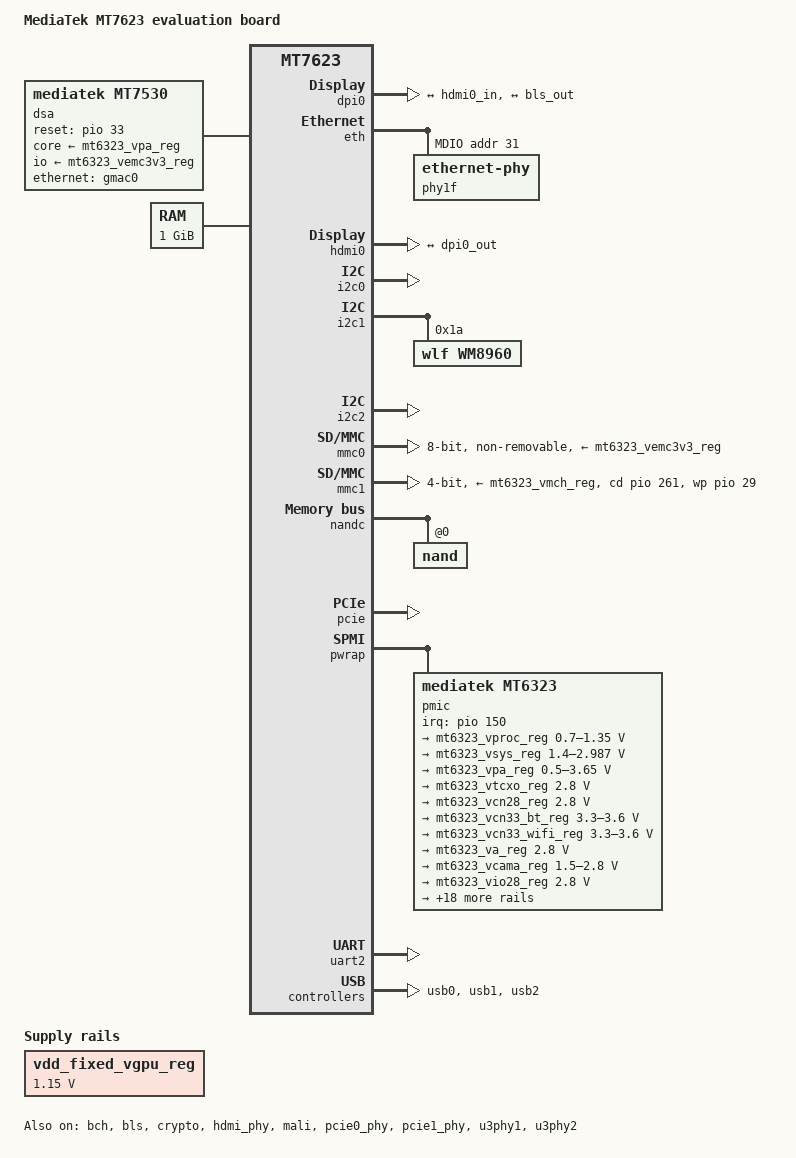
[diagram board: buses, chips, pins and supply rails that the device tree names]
/*
 * Copyright (c) 2016 MediaTek Inc.
 * Author: Sean Wang <sean.wang@mediatek.com>
 *
 * This program is free software; you can redistribute it and/or modify
 * it under the terms of the GNU General Public License version 2 as
 * published by the Free Software Foundation.
 *
 * This program is distributed in the hope that it will be useful,
 * but WITHOUT ANY WARRANTY; without even the implied warranty of
 * MERCHANTABILITY or FITNESS FOR A PARTICULAR PURPOSE.  See the
 * GNU General Public License for more details.
 */

/dts-v1/;
#include "mt7623.dtsi"

/ {
	model = "MediaTek MT7623 evaluation board";
	compatible = "mediatek,mt7623-evb", "mediatek,mt7623";

	chosen {
		stdout-path = &uart2;
	};

	cpus {
		cpu@0 {
			proc-supply = <&mt6323_vproc_reg>;
		};

		cpu@1 {
			proc-supply = <&mt6323_vproc_reg>;
		};

		cpu@2 {
			proc-supply = <&mt6323_vproc_reg>;
		};

		cpu@3 {
			proc-supply = <&mt6323_vproc_reg>;
		};
	};

	dsa: dsa@0 {
		compatible = "mediatek,mt7530";

		#address-cells = <2>;
		#size-cells = <0>;
		dsa,mii-bus = <&mdio>;
		dsa,ethernet = <&eth>;

		core-supply = <&mt6323_vpa_reg>;
		io-supply = <&mt6323_vemc3v3_reg>;
		/* mt7623n standalone switch reset */
		reset-gpios = <&pio 33 0>;

		status = "okay";

		mt7530: switch@0 {
			#address-cells = <1>;
			#size-cells = <0>;
			reg = <31 0>;

			port@0 {
				reg = <0>;
				label = "lan0";
			};

			port@1 {
				reg = <1>;
				label = "lan1";
			};

			port@2 {
				reg = <2>;
				label = "lan2";
			};

			port@3 {
				reg = <3>;
				label = "lan3";
			};

			port@4 {
				reg = <4>;
				label = "wan";
			};

			port@6 {
				reg = <6>;
				label = "cpu";
				ethernet = <&gmac0>;
				phy-mode = "trgmii";

				fixed-link {
					speed = <1000>;
					full-duplex;
				};
			};
		};
	};

	memory {
		reg = <0 0x80000000 0 0x40000000>;
	};

	vdd_fixed_vgpu_reg: fixedregulator@0 {
		compatible = "regulator-fixed";
		regulator-name = "vdd_fixed_vgpu";
		regulator-min-microvolt = <1150000>;
		regulator-max-microvolt = <1150000>;
	};
};

&bch {
	status = "okay";
};

&bls {
	status = "okay";

	port {
		bls_out: endpoint {
			remote-endpoint = <&dpi0_in>;
		};
	};
};

&crypto {
	status = "okay";
};

&dpi0 {
	status = "okay";

	port {
		dpi0_out: endpoint@0 {
			remote-endpoint = <&hdmi0_in>;
		};

		dpi0_in: endpoint@1 {
			remote-endpoint = <&bls_out>;
		};
	};
};

&eth {
	mac-address = [00 00 00 00 00 00];
	status = "okay";
	pinctrl-names = "default";
	pinctrl-0 = <&ephy_default>;
	gmac0: mac@0 {
		compatible = "mediatek,eth-mac";
		reg = <0>;
		phy-mode = "trgmii";

		fixed-link {
			speed = <1000>;
			full-duplex;
			pause;
		};
	};

	gmac1: mac@1 {
		compatible = "mediatek,eth-mac";
		reg = <1>;
		phy-mode = "rgmii";
		fixed-link {
			speed = <1000>;
			full-duplex;
			pause;
		};
	};

	mdio: mdio-bus {
		#address-cells = <1>;
		#size-cells = <0>;

		phy1f: ethernet-phy@1f {
			reg = <0x1f>;
			phy-mode = "rgmii";
		};
	};
};

&hdmi0 {
	status = "okay";

	ports {
		#address-cells = <1>;
		#size-cells = <0>;

		port@0 {
			reg = <0>;

			hdmi0_in: endpoint {
				remote-endpoint = <&dpi0_out>;
			};
		};
	};
};

&hdmi_phy {
	status = "okay";
};

&i2c0 {
	pinctrl-names = "default";
	pinctrl-0 = <&i2c0_pins_a>;
	status = "okay";
};

&i2c1 {
	pinctrl-names = "default";
	pinctrl-0 = <&i2c1_pins_a>;
	status = "okay";

	wm8960: wm8960@1a {
		compatible = "wlf,wm8960";
		reg = <0x1a>;
	};
};

&i2c2 {
	pinctrl-names = "default";
	pinctrl-0 = <&i2c2_pins_a>;
	status = "okay";
};

&mali {
	vdd_g3d-supply = <&vdd_fixed_vgpu_reg>;
	status = "okay";
};

&mmc0 {
	pinctrl-names = "default", "state_uhs";
	pinctrl-0 = <&mmc0_pins_default>;
	pinctrl-1 = <&mmc0_pins_uhs>;
	status = "okay";
	bus-width = <8>;
	max-frequency = <50000000>;
	cap-mmc-highspeed;
	vmmc-supply = <&mt6323_vemc3v3_reg>;
	vqmmc-supply = <&mt6323_vio18_reg>;
	non-removable;
};

&mmc1 {
	pinctrl-names = "default", "state_uhs";
	pinctrl-0 = <&mmc1_pins_default>;
	pinctrl-1 = <&mmc1_pins_uhs>;
	status = "okay";
	bus-width = <4>;
	max-frequency = <50000000>;
	cap-sd-highspeed;
	cd-gpios = <&pio 261 0>;
	wp-gpios = <&pio 29 0>;
	vmmc-supply = <&mt6323_vmch_reg>;
	vqmmc-supply = <&mt6323_vmc_reg>;
};

&nandc {
	status = "okay";
	pinctrl-names = "default";
	pinctrl-0 = <&nand_pins_default>;
	nand@0 {
		reg = <0>;
		spare_per_sector = <64>;
		nand-ecc-mode = "hw";
		nand-ecc-strength = <12>;
		nand-ecc-step-size = <1024>;
	};
};

&pcie {
	pinctrl-names = "default";
	pinctrl-0 = <&pcie_default>;
	status = "okay";

	pcie@0,0 {
		status = "okay";
	};

	pcie@1,0 {
		status = "okay";
	};
};

&pcie0_phy {
	status = "okay";
};

&pcie1_phy {
	status = "okay";
};

&pio {
	aud_pins_default: audiodefault {
		pins_cmd_dat {
			pinmux = <MT7623_PIN_49_I2S0_DATA_FUNC_I2S0_DATA>,
				 <MT7623_PIN_72_I2S0_DATA_IN_FUNC_I2S0_DATA_IN>,
				 <MT7623_PIN_73_I2S0_LRCK_FUNC_I2S0_LRCK>,
				 <MT7623_PIN_74_I2S0_BCK_FUNC_I2S0_BCK>,
				 <MT7623_PIN_126_I2S0_MCLK_FUNC_I2S0_MCLK>,
				 <MT7623_PIN_33_I2S1_DATA_FUNC_I2S1_DATA>,
				 <MT7623_PIN_34_I2S1_DATA_IN_FUNC_I2S1_DATA_IN>,
				 <MT7623_PIN_35_I2S1_BCK_FUNC_I2S1_BCK>,
				 <MT7623_PIN_36_I2S1_LRCK_FUNC_I2S1_LRCK>,
				 <MT7623_PIN_37_I2S1_MCLK_FUNC_I2S1_MCLK>;
			drive-strength = <MTK_DRIVE_12mA>;
			bias-pull-down;
		};
	};

	ephy_default: ephy_default {
		pins_eth {
			pinmux = <MT7623_PIN_275_G2_MDC_FUNC_MDC>,
				 <MT7623_PIN_276_G2_MDIO_FUNC_MDIO>,
				 <MT7623_PIN_262_G2_TXEN_FUNC_G2_TXEN>,
				 <MT7623_PIN_263_G2_TXD3_FUNC_G2_TXD3>,
				 <MT7623_PIN_264_G2_TXD2_FUNC_G2_TXD2>,
				 <MT7623_PIN_265_G2_TXD1_FUNC_G2_TXD1>,
				 <MT7623_PIN_266_G2_TXD0_FUNC_G2_TXD0>,
				 <MT7623_PIN_267_G2_TXCLK_FUNC_G2_TXC>,
				 <MT7623_PIN_268_G2_RXCLK_FUNC_G2_RXC>,
				 <MT7623_PIN_269_G2_RXD0_FUNC_G2_RXD0>,
				 <MT7623_PIN_270_G2_RXD1_FUNC_G2_RXD1>,
				 <MT7623_PIN_271_G2_RXD2_FUNC_G2_RXD2>,
				 <MT7623_PIN_272_G2_RXD3_FUNC_G2_RXD3>,
				 <MT7623_PIN_274_G2_RXDV_FUNC_G2_RXDV>;
		};
	};

	gsw_reset: gsw_reset {
		pins_rst {
			pinmux = <MT7623_PIN_33_I2S1_DATA_FUNC_GPIO33>;
			output-low;
		};
	};

	i2c0_pins_a: i2c0@0 {
		pins1 {
			pinmux = <MT7623_PIN_75_SDA0_FUNC_SDA0>,
				 <MT7623_PIN_76_SCL0_FUNC_SCL0>;
			bias-disable;
		};
	};

	i2c1_pins_a: i2c1@0 {
		pins1 {
			pinmux = <MT7623_PIN_57_SDA1_FUNC_GPIO57>,
				 <MT7623_PIN_58_SCL1_FUNC_GPIO58>,
				 <MT7623_PIN_243_UCTS2_FUNC_SDA1>,
				 <MT7623_PIN_242_URTS2_FUNC_SCL1>;
			bias-disable;
		};
	};

	i2c2_pins_a: i2c2@0 {
		pins1 {
			pinmux = <MT7623_PIN_77_SDA2_FUNC_SDA2>,
				 <MT7623_PIN_78_SCL2_FUNC_SCL2>;
			bias-disable;
		};
	};

	nand_pins_default: nanddefault {
		pins_dat {
			pinmux = <MT7623_PIN_111_MSDC0_DAT7_FUNC_NLD7>,
				<MT7623_PIN_112_MSDC0_DAT6_FUNC_NLD6>,
				<MT7623_PIN_114_MSDC0_DAT4_FUNC_NLD4>,
				<MT7623_PIN_118_MSDC0_DAT3_FUNC_NLD3>,
				<MT7623_PIN_121_MSDC0_DAT0_FUNC_NLD0>,
				<MT7623_PIN_120_MSDC0_DAT1_FUNC_NLD1>,
				<MT7623_PIN_113_MSDC0_DAT5_FUNC_NLD5>,
				<MT7623_PIN_115_MSDC0_RSTB_FUNC_NLD8>,
				<MT7623_PIN_119_MSDC0_DAT2_FUNC_NLD2>;
			input-enable;
			drive-strength = <MTK_DRIVE_8mA>;
			bias-pull-up;
		};
	};

	mmc0_pins_default: mmc0default {
		pins_cmd_dat {
			pinmux = <MT7623_PIN_111_MSDC0_DAT7_FUNC_MSDC0_DAT7>,
				 <MT7623_PIN_112_MSDC0_DAT6_FUNC_MSDC0_DAT6>,
				 <MT7623_PIN_113_MSDC0_DAT5_FUNC_MSDC0_DAT5>,
				 <MT7623_PIN_114_MSDC0_DAT4_FUNC_MSDC0_DAT4>,
				 <MT7623_PIN_118_MSDC0_DAT3_FUNC_MSDC0_DAT3>,
				 <MT7623_PIN_119_MSDC0_DAT2_FUNC_MSDC0_DAT2>,
				 <MT7623_PIN_120_MSDC0_DAT1_FUNC_MSDC0_DAT1>,
				 <MT7623_PIN_121_MSDC0_DAT0_FUNC_MSDC0_DAT0>,
				 <MT7623_PIN_116_MSDC0_CMD_FUNC_MSDC0_CMD>;
			input-enable;
			bias-pull-up;
		};

		pins_clk {
			pinmux = <MT7623_PIN_117_MSDC0_CLK_FUNC_MSDC0_CLK>;
			bias-pull-down;
		};

		pins_rst {
			pinmux = <MT7623_PIN_115_MSDC0_RSTB_FUNC_MSDC0_RSTB>;
			bias-pull-up;
		};
	};

	mmc0_pins_uhs: mmc0 {
		pins_cmd_dat {
			pinmux = <MT7623_PIN_111_MSDC0_DAT7_FUNC_MSDC0_DAT7>,
				 <MT7623_PIN_112_MSDC0_DAT6_FUNC_MSDC0_DAT6>,
				 <MT7623_PIN_113_MSDC0_DAT5_FUNC_MSDC0_DAT5>,
				 <MT7623_PIN_114_MSDC0_DAT4_FUNC_MSDC0_DAT4>,
				 <MT7623_PIN_118_MSDC0_DAT3_FUNC_MSDC0_DAT3>,
				 <MT7623_PIN_119_MSDC0_DAT2_FUNC_MSDC0_DAT2>,
				 <MT7623_PIN_120_MSDC0_DAT1_FUNC_MSDC0_DAT1>,
				 <MT7623_PIN_121_MSDC0_DAT0_FUNC_MSDC0_DAT0>,
				 <MT7623_PIN_116_MSDC0_CMD_FUNC_MSDC0_CMD>;
			input-enable;
			drive-strength = <MTK_DRIVE_2mA>;
			bias-pull-up = <MTK_PUPD_SET_R1R0_01>;
		};

		pins_clk {
			pinmux = <MT7623_PIN_117_MSDC0_CLK_FUNC_MSDC0_CLK>;
			drive-strength = <MTK_DRIVE_2mA>;
			bias-pull-down = <MTK_PUPD_SET_R1R0_01>;
		};

		pins_rst {
			pinmux = <MT7623_PIN_115_MSDC0_RSTB_FUNC_MSDC0_RSTB>;
			bias-pull-up;
		};
	};

	mmc1_pins_default: mmc1default {
		pins_cmd_dat {
			pinmux = <MT7623_PIN_107_MSDC1_DAT0_FUNC_MSDC1_DAT0>,
				 <MT7623_PIN_108_MSDC1_DAT1_FUNC_MSDC1_DAT1>,
				 <MT7623_PIN_109_MSDC1_DAT2_FUNC_MSDC1_DAT2>,
				 <MT7623_PIN_110_MSDC1_DAT3_FUNC_MSDC1_DAT3>,
				 <MT7623_PIN_105_MSDC1_CMD_FUNC_MSDC1_CMD>;
			input-enable;
			drive-strength = <MTK_DRIVE_4mA>;
			bias-pull-up = <MTK_PUPD_SET_R1R0_10>;
		};

		pins_clk {
			pinmux = <MT7623_PIN_106_MSDC1_CLK_FUNC_MSDC1_CLK>;
			bias-pull-down;
			drive-strength = <MTK_DRIVE_4mA>;
		};
	};

	mmc1_pins_uhs: mmc1 {
		pins_cmd_dat {
			pinmux = <MT7623_PIN_107_MSDC1_DAT0_FUNC_MSDC1_DAT0>,
				 <MT7623_PIN_108_MSDC1_DAT1_FUNC_MSDC1_DAT1>,
				 <MT7623_PIN_109_MSDC1_DAT2_FUNC_MSDC1_DAT2>,
				 <MT7623_PIN_110_MSDC1_DAT3_FUNC_MSDC1_DAT3>,
				 <MT7623_PIN_105_MSDC1_CMD_FUNC_MSDC1_CMD>;
			input-enable;
			drive-strength = <MTK_DRIVE_4mA>;
			bias-pull-up = <MTK_PUPD_SET_R1R0_10>;
		};

		pins_clk {
			pinmux = <MT7623_PIN_106_MSDC1_CLK_FUNC_MSDC1_CLK>;
			drive-strength = <MTK_DRIVE_4mA>;
			bias-pull-down = <MTK_PUPD_SET_R1R0_10>;
		};
	};

	pcie_default: pcie_pin_default {
		pins_cmd_dat {
			pinmux = <MT7623_PIN_208_AUD_EXT_CK1_FUNC_PCIE0_PERST_N>,
				 <MT7623_PIN_209_AUD_EXT_CK2_FUNC_PCIE1_PERST_N>;
		};
	};

	usb_iddig: iddig_irq_init{
		pins_cmd_dat {
			pinmux = <MT7623_PIN_44_NCEB1_FUNC_GPIO44>;
			bias-pull-up ;
		};
	};

	usb_drvvbus: drvvbus_init{
		pins_cmd_dat {
			pinmux = <MT7623_PIN_237_EXT_SDIO2_FUNC_GPIO237>;
			output-low;
		};
	};

	usb_drvvbus_low: drvvbus_low{
		pins_cmd_dat {
			pinmux = <MT7623_PIN_237_EXT_SDIO2_FUNC_GPIO237>;
			slew-rate = <1>;
			output-low;
		};
	};

	usb_drvvbus_high: drvvbus_high{
		pins_cmd_dat {
			pinmux = <MT7623_PIN_237_EXT_SDIO2_FUNC_GPIO237>;
			output-high;
		};
	};
};

&pwrap {
	pmic: mt6323 {
		compatible = "mediatek,mt6323";
		interrupt-parent = <&pio>;
		interrupts = <150 IRQ_TYPE_LEVEL_HIGH>;
		interrupt-controller;
		#interrupt-cells = <2>;

		mt6323led: led {
			compatible = "mediatek,mt6323-led";
			#address-cells = <1>;
			#size-cells = <0>;

			led@0 {
				reg = <0>;
				label = "green";
				default-state = "off";
			};

			led@1 {
				reg = <1>;
				label = "red";
				default-state = "off";
			};

			led@2 {
				reg = <2>;
				label = "blue";
				default-state = "off";
			};
		};

		mt6323regulator: mt6323regulator{
			compatible = "mediatek,mt6323-regulator";

			mt6323_vproc_reg: buck_vproc{
				regulator-name = "vproc";
				regulator-min-microvolt = < 700000>;
				regulator-max-microvolt = <1350000>;
				regulator-ramp-delay = <12500>;
				regulator-always-on;
				regulator-boot-on;
			};

			mt6323_vsys_reg: buck_vsys{
				regulator-name = "vsys";
				regulator-min-microvolt = <1400000>;
				regulator-max-microvolt = <2987500>;
				regulator-ramp-delay = <25000>;
				regulator-always-on;
				regulator-boot-on;
			};

			mt6323_vpa_reg: buck_vpa{
				regulator-name = "vpa";
				regulator-min-microvolt = < 500000>;
				regulator-max-microvolt = <3650000>;
			};

			mt6323_vtcxo_reg: ldo_vtcxo{
				regulator-name = "vtcxo";
				regulator-min-microvolt = <2800000>;
				regulator-max-microvolt = <2800000>;
				regulator-enable-ramp-delay = <90>;
				regulator-always-on;
				regulator-boot-on;
			};

			mt6323_vcn28_reg: ldo_vcn28{
				regulator-name = "vcn28";
				regulator-min-microvolt = <2800000>;
				regulator-max-microvolt = <2800000>;
				regulator-enable-ramp-delay = <185>;
			};

			mt6323_vcn33_bt_reg: ldo_vcn33_bt{
				regulator-name = "vcn33_bt";
				regulator-min-microvolt = <3300000>;
				regulator-max-microvolt = <3600000>;
				regulator-enable-ramp-delay = <185>;
			};

			mt6323_vcn33_wifi_reg: ldo_vcn33_wifi{
				regulator-name = "vcn33_wifi";
				regulator-min-microvolt = <3300000>;
				regulator-max-microvolt = <3600000>;
				regulator-enable-ramp-delay = <185>;
			};

			mt6323_va_reg: ldo_va{
				regulator-name = "va";
				regulator-min-microvolt = <2800000>;
				regulator-max-microvolt = <2800000>;
				regulator-enable-ramp-delay = <216>;
				regulator-always-on;
				regulator-boot-on;
			};

			mt6323_vcama_reg: ldo_vcama{
				regulator-name = "vcama";
				regulator-min-microvolt = <1500000>;
				regulator-max-microvolt = <2800000>;
				regulator-enable-ramp-delay = <216>;
			};

			mt6323_vio28_reg: ldo_vio28{
				regulator-name = "vio28";
				regulator-min-microvolt = <2800000>;
				regulator-max-microvolt = <2800000>;
				regulator-enable-ramp-delay = <216>;
				regulator-always-on;
				regulator-boot-on;
			};

			mt6323_vusb_reg: ldo_vusb{
				regulator-name = "vusb";
				regulator-min-microvolt = <3300000>;
				regulator-max-microvolt = <3300000>;
				regulator-enable-ramp-delay = <216>;
				regulator-boot-on;
			};

			mt6323_vmc_reg: ldo_vmc{
				regulator-name = "vmc";
				regulator-min-microvolt = <1800000>;
				regulator-max-microvolt = <3300000>;
				regulator-enable-ramp-delay = <36>;
				regulator-boot-on;
			};

			mt6323_vmch_reg: ldo_vmch{
				regulator-name = "vmch";
				regulator-min-microvolt = <3000000>;
				regulator-max-microvolt = <3300000>;
				regulator-enable-ramp-delay = <36>;
				regulator-boot-on;
			};

			mt6323_vemc3v3_reg: ldo_vemc3v3{
				regulator-name = "vemc3v3";
				regulator-min-microvolt = <3000000>;
				regulator-max-microvolt = <3300000>;
				regulator-enable-ramp-delay = <36>;
				regulator-boot-on;
			};

			mt6323_vgp1_reg: ldo_vgp1{
				regulator-name = "vgp1";
				regulator-min-microvolt = <1200000>;
				regulator-max-microvolt = <3300000>;
				regulator-enable-ramp-delay = <216>;
			};

			mt6323_vgp2_reg: ldo_vgp2{
				regulator-name = "vgp2";
				regulator-min-microvolt = <1200000>;
				regulator-max-microvolt = <3000000>;
				regulator-enable-ramp-delay = <216>;
			};

			mt6323_vgp3_reg: ldo_vgp3{
				regulator-name = "vgp3";
				regulator-min-microvolt = <1200000>;
				regulator-max-microvolt = <1800000>;
				regulator-enable-ramp-delay = <216>;
			};

			mt6323_vcn18_reg: ldo_vcn18{
				regulator-name = "vcn18";
				regulator-min-microvolt = <1800000>;
				regulator-max-microvolt = <1800000>;
				regulator-enable-ramp-delay = <216>;
			};

			mt6323_vsim1_reg: ldo_vsim1{
				regulator-name = "vsim1";
				regulator-min-microvolt = <1800000>;
				regulator-max-microvolt = <3000000>;
				regulator-enable-ramp-delay = <216>;
			};

			mt6323_vsim2_reg: ldo_vsim2{
				regulator-name = "vsim2";
				regulator-min-microvolt = <1800000>;
				regulator-max-microvolt = <3000000>;
				regulator-enable-ramp-delay = <216>;
			};

			mt6323_vrtc_reg: ldo_vrtc{
				regulator-name = "vrtc";
				regulator-min-microvolt = <2800000>;
				regulator-max-microvolt = <2800000>;
				regulator-always-on;
				regulator-boot-on;
			};

			mt6323_vcamaf_reg: ldo_vcamaf{
				regulator-name = "vcamaf";
				regulator-min-microvolt = <1200000>;
				regulator-max-microvolt = <3300000>;
				regulator-enable-ramp-delay = <216>;
			};

			mt6323_vibr_reg: ldo_vibr{
				regulator-name = "vibr";
				regulator-min-microvolt = <1200000>;
				regulator-max-microvolt = <3300000>;
				regulator-enable-ramp-delay = <36>;
			};

			mt6323_vrf18_reg: ldo_vrf18{
				regulator-name = "vrf18";
				regulator-min-microvolt = <1825000>;
				regulator-max-microvolt = <1825000>;
				regulator-enable-ramp-delay = <187>;
			};

			mt6323_vm_reg: ldo_vm{
				regulator-name = "vm";
				regulator-min-microvolt = <1200000>;
				regulator-max-microvolt = <1800000>;
				regulator-enable-ramp-delay = <216>;
				regulator-always-on;
				regulator-boot-on;
			};

			mt6323_vio18_reg: ldo_vio18{
				regulator-name = "vio18";
				regulator-min-microvolt = <1800000>;
				regulator-max-microvolt = <1800000>;
				regulator-enable-ramp-delay = <216>;
				regulator-always-on;
				regulator-boot-on;
			};

			mt6323_vcamd_reg: ldo_vcamd{
				regulator-name = "vcamd";
				regulator-min-microvolt = <1200000>;
				regulator-max-microvolt = <1800000>;
				regulator-enable-ramp-delay = <216>;
			};

			mt6323_vcamio_reg: ldo_vcamio{
				regulator-name = "vcamio";
				regulator-min-microvolt = <1800000>;
				regulator-max-microvolt = <1800000>;
				regulator-enable-ramp-delay = <216>;
			};
		};
	};
};

&sound {
	pinctrl-0 = <&aud_pins_default>;
	status = "okay";
};

&uart2 {
	status = "okay";
};

&usb0 {
	pinctrl-names = "iddig_irq_init", "drvvbus_init",
			"drvvbus_low", "drvvbus_high";
	pinctrl-0 = <&usb_iddig>;
	pinctrl-1 = <&usb_drvvbus>;
	pinctrl-2 = <&usb_drvvbus_low>;
	pinctrl-3 = <&usb_drvvbus_high>;
	status = "okay";
	drvvbus_gpio = <&pio 237 0>;
	otg-iddig{
		iddig_gpio = <&pio 44 0>;
		interrupt-parent = <&pio>;
		interrupts = <26 IRQ_TYPE_LEVEL_LOW>;
	};
	vbus-detect{
		vbus_gpio = <&pio 102 0>;
		interrupt-parent = <&pio>;
		interrupts = <75 IRQ_TYPE_LEVEL_HIGH>;
	};
};

&usb1 {
	vusb33-supply = <&mt6323_vusb_reg>;
	status = "okay";
};

&usb2 {
	vusb33-supply = <&mt6323_vusb_reg>;
	status = "okay";
};

&u3phy1 {
	status = "okay";
};

&u3phy2 {
	status = "okay";
};
